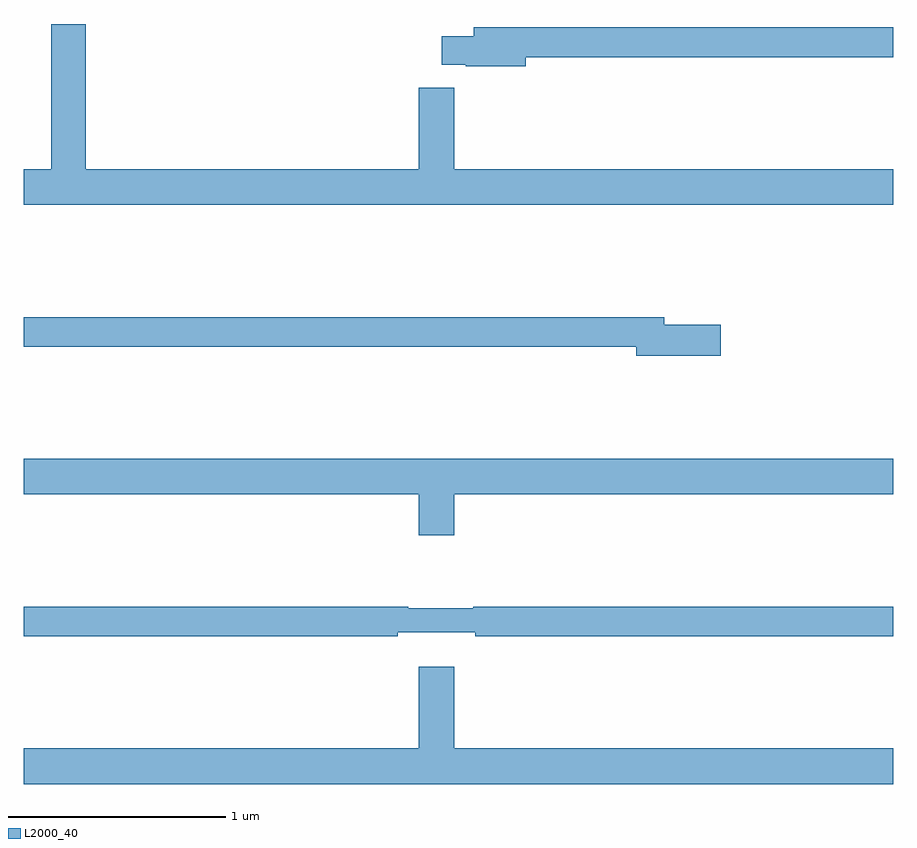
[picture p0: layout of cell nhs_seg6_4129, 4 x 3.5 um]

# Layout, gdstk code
import gdstk
lib = gdstk.Library(unit=1e-6, precision=1e-09)
def P(c, l, *ps):  # polygons
    for p in ps: c.add(gdstk.Polygon(p, *l))
L2000_40 = (2000, 40)

nhs_seg6_4129 = lib.new_cell('nhs_seg6_4129')
P(nhs_seg6_4129, L2000_40, [(359,948.832),(356.98,948.832),(356.98,949.207),(356.816,949.207),(356.816,948.832),(355.286,948.832),(355.286,949.5),(355.126,949.5),(355.126,948.832),(355,948.832),(355,948.668),(359,948.668)],
  [(357.31,949.348),(359,949.348),(359,949.484),(357.071,949.484),(357.071,949.443),(356.922,949.443),(356.922,949.313),(357.034,949.313),(357.034,949.306),(357.31,949.306)],
  [(358.207,948.116),(357.946,948.116),(357.946,948.152),(355,948.152),(355,948.016),(357.818,948.016),(357.818,947.974),(358.207,947.974)],
  [(356.98,947.336),(359,947.336),(359,947.5),(355,947.5),(355,947.336),(356.816,947.336),(356.816,947.148),(356.98,947.148)],
  [(356.72,946.703),(357.076,946.703),(357.076,946.684),(359,946.684),(359,946.82),(357.068,946.82),(357.068,946.813),(356.768,946.813),(356.768,946.82),(355,946.82),(355,946.684),(356.72,946.684)],
  [(359,946.168),(356.98,946.168),(356.98,946.543),(356.816,946.543),(356.816,946.168),(355,946.168),(355,946.004),(359,946.004)])

lib.write_gds('nhs_seg6_4129.gds')
